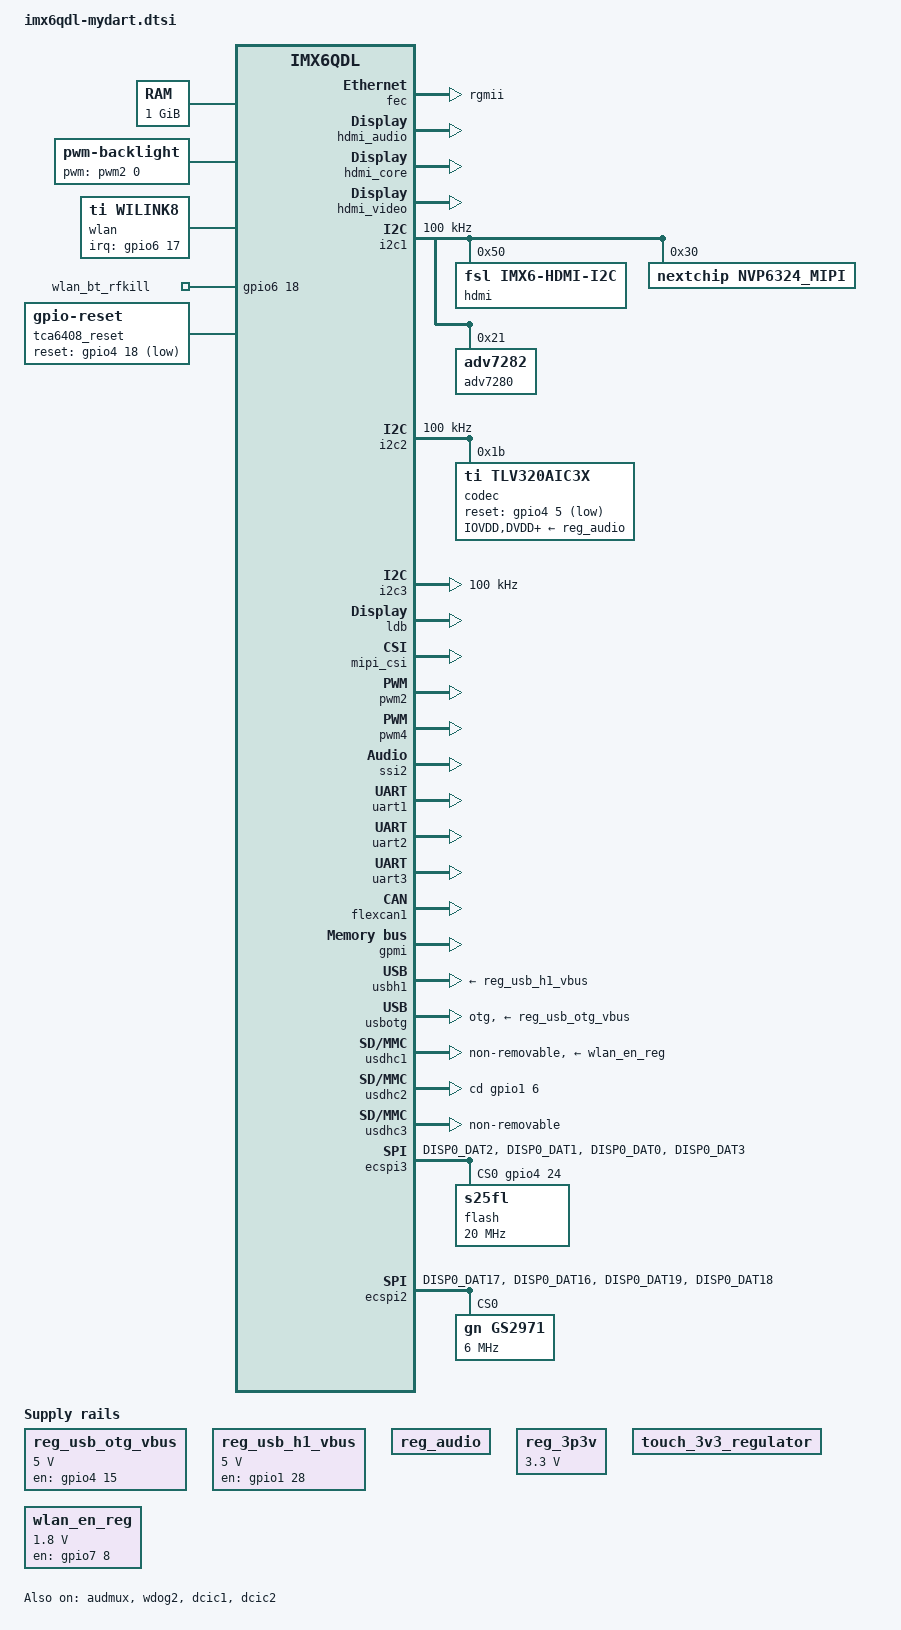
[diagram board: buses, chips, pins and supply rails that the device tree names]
/*
 * Copyright (C) 2014 Variscite, Ltd. All Rights Reserved
 * Donio Ron: ron.d@variscite.com
 *
 * Copyright 2012 Freescale Semiconductor, Inc.
 * Copyright 2011 Linaro Ltd.
 *
 * The code contained herein is licensed under the GNU General Public
 * License. You may obtain a copy of the GNU General Public License
 * Version 2 or later at the following locations:
 *
 * http://www.opensource.org/licenses/gpl-license.html
 * http://www.gnu.org/copyleft/gpl.html
 *
 */

/ {
	aliases {
		mxcfb0 = &mxcfb1;
		mxcfb1 = &mxcfb2;
		mxcfb2 = &mxcfb3;
		mxcfb3 = &mxcfb4;
	};

	memory {
		reg = <0x10000000 0x40000000>;
	};

	regulators {
		compatible = "simple-bus";

		reg_usb_otg_vbus: usb_otg_vbus {
			compatible = "regulator-fixed";
			regulator-name = "usb_otg_vbus";
			regulator-min-microvolt = <5000000>;        
			regulator-max-microvolt = <5000000>;
			gpio = <&gpio4 15 0>; 
			enable-active-high; //was low
		};

		reg_usb_h1_vbus: usb_h1_vbus {
			compatible = "regulator-fixed";
			regulator-name = "usb_h1_vbus";
			regulator-min-microvolt = <5000000>;
			regulator-max-microvolt = <5000000>;
            		gpio = <&gpio1 28 0>;
            		enable-active-high; //was low
		};

		reg_audio: tlv320aic3x_supply {
			compatible = "regulator-fixed";
			regulator-name = "tlv320aic3x-supply";
			enable-active-high;
		};

		reg_3p3v: 3p3v {
			compatible = "regulator-fixed";
			regulator-name = "3P3V";
			regulator-min-microvolt = <3300000>;
			regulator-max-microvolt = <3300000>;
			regulator-always-on;
		};

		touch_3v3_regulator: touch_3v3_regulator {
			compatible = "regulator-fixed";
			regulator-name = "touch_3v3_supply";
			regulator-always-on;
			status = "okay";
		};
	};

#if 1
	wlcore {
		compatible = "wlcore";
		gpio = <177>;   /* The wl8 driver expects gpio to be an integer, so gpio6_17 is (6-1)*32+17=207
		        	   irq property must not be set as driver derives irq number from gpio if no irq set
	 			   use edge irqs for suspend/resume */
		platform-quirks = <1>;
		/* if a 12xx card is there, configure the clock to WL12XX_REFCLOCK_38_XTAL */
		board-ref-clock = <4>;
	};
#endif

	wlan_en_reg: fixedregulator@2 {
		compatible = "regulator-fixed";
		regulator-name = "wlan-en-regulator";
		regulator-min-microvolt = <1800000>;
		regulator-max-microvolt = <1800000>;

		/* WLAN_EN GPIO for this board - Bank5, pin13 */
		gpio = <&gpio7 8 0>;

		/* WLAN card specific delay */
		startup-delay-us = <70000>;
		enable-active-high;
	};

#if 0
	gpio-keys {
		compatible = "gpio-keys";
		power {
			label = "Back";
			gpios = <&gpio5 20 0>;
			linux,code = <158>; /* KEY_BACK */
		};
	};
#endif

	sound {
		compatible = "fsl,imx6q-var-som-tlv320aic3x", "fsl,imx-audio-tlv320aic3x";
		model = "tlv320aic3x-audio";
		ssi-controller = <&ssi2>;
		audio-codec = <&codec>;
		audio-routing =
			/* Headphone connected to HPLOUT, HPROUT */
			"Headphone Jack",       "HPLOUT",
			"Headphone Jack",       "HPROUT",
			/* Line Out connected to LLOUT, RLOUT */
			"Line Out",      	"LLOUT",
			"Line Out",     	"RLOUT",
			/* Mic connected to (MIC3L | MIC3R) */
			"Mic Bias",		"MIC3L",
			"Mic Bias",		"MIC3R",
			"Mic Jack",		"Mic Bias",
			/* Line In connected to (LINE1L | LINE2L), (LINE1R | LINE2R) */
			"Line In",		"LINE1L",
			"Line In",		"LINE2L",
			"Line In",		"LINE1R",
			"Line In",		"LINE2R";
		mux-int-port = <2>;
		mux-ext-port = <3>;
	};

	sound-hdmi {
		compatible = "fsl,imx6q-audio-hdmi",
			     "fsl,imx-audio-hdmi";
		model = "imx-audio-hdmi";
		hdmi-controller = <&hdmi_audio>;
	};

	/* Capacitive Display */
	mxcfb1: fb@0 {
		compatible = "fsl,mxc_sdc_fb";
		disp_dev = "ldb";
		interface_pix_fmt = "RGB666";
		default_bpp = <16>;
		int_clk = <0>;
		late_init = <0>;
		status = "disabled";
	};

	mxcfb2: fb@1 {
		compatible = "fsl,mxc_sdc_fb";
		disp_dev = "hdmi";
		interface_pix_fmt = "RGB24";
		mode_str ="1920x1080M@60";
		default_bpp = <24>;
		int_clk = <0>;
		late_init = <0>;
		status = "disabled";
	};

	mxcfb3: fb@2 {
		compatible = "fsl,mxc_sdc_fb";
		disp_dev = "lcd";
		interface_pix_fmt = "RGB565";
		mode_str ="CLAA-WVGA";
		default_bpp = <16>;
		int_clk = <0>;
		late_init = <0>;
		status = "disabled";
	};

	mxcfb4: fb@3 {
		compatible = "fsl,mxc_sdc_fb";
		disp_dev = "ldb";
		interface_pix_fmt = "RGB666";
		default_bpp = <16>;
		int_clk = <0>;
		late_init = <0>;
		status = "disabled";
	};

	lcd@0 {
		compatible = "fsl,lcd";
		ipu_id = <0>;
		disp_id = <0>;
		default_ifmt = "RGB565";
//		pinctrl-names = "default";
//		pinctrl-0 = <&pinctrl_ipu1_1>;
		status = "disabled";
	};

	backlight {
		compatible = "pwm-backlight";
		pwms = <&pwm2 0 50000>;
		brightness-levels = <0 4 8 16 32 64 128 248>;
		default-brightness-level = <7>;
	};


	v4l2_cap_0:	v4l2_cap_0 {
		compatible = "fsl,imx6q-v4l2-capture";
		ipu_id = <1>;
		csi_id = <0>;
		mclk_source = <0>;
		status = "okay";
	};

    v4l2_cap_1: v4l2_cap_1 {
        compatible = "fsl,imx6q-v4l2-capture";
        ipu_id = <0>;
        csi_id = <0>;
        mipi_camera = <1>;
        mclk_source = <0>;
        status = "okay";
    };

	v4l2_out {
		compatible = "fsl,mxc_v4l2_output";
		status = "okay";
	};


	wlan {
		compatible = "ti,wilink8";
		interrupt-parent = <&gpio6>;
		interrupts = <17 0>;
		clocks = <&refclock>;
		clock-names = "refclock";

		refclock: refclock {
			compatible = "ti,wilink-clock";
			#clock-cells = <0>;
			clock-frequency = <38400000>;
		};
	};

	wlan_bt_rfkill {
		compatible = "net,rfkill-gpio";
		name = "wlan_bt_rfkill";
		type = <2>;     /* bluetooth */
		gpios = <&gpio6 18 0>;
	};

	tca6408_reset: tca6408-reset {
		compatible = "gpio-reset";
		reset-gpios = <&gpio4 18 GPIO_ACTIVE_LOW>;
		reset-delay-us = <1>;
		#reset-cells = <0>;
	};

#if 0
	lvds_cabc_ctrl {
		lvds0-gpios = <&gpio6 15 0>;
		lvds1-gpios = <&gpio6 16 0>;
	};
#endif
};

&audmux {
	pinctrl-names = "default";
	pinctrl-0 = <&pinctrl_audmux_2>;
	status = "okay";
};

&cpu0 {
	arm-supply = <&sw1a_reg>;
	soc-supply = <&sw1c_reg>;
	pu-supply = <&pu_dummy>; /* use pu_dummy if VDDSOC share with VDDPU */
};

#if 0
&ecspi3 {
	fsl,spi-num-chipselects = <1>;
	cs-gpios = <&gpio4 24 0>;
	pinctrl-names = "default";
	pinctrl-0 = <&pinctrl_ecspi3_1>;
	status = "okay";

	ads7846@0 {
		reg = <0>;	/* CS0 */
		compatible = "ti,ads7846";
		interrupt-parent = <&gpio4>;
		interrupts = <25 0>;	
		spi-max-frequency = <1500000>;
		pendown-gpio = <&gpio4 25 0>;
		vcc-supply = <&reg_soc>;
		ti,x-min = /bits/ 16 <4200>;
		ti,x-max = /bits/ 16 <8080>;
		ti,y-min = /bits/ 16 <4330>;
		ti,y-max = /bits/ 16 <7980>;
		ti,x-plate-ohms = /bits/ 16 <180>;
		ti,pressure-max = /bits/ 16 <255>;
		ti,debounce-max	= /bits/ 16 <10>;
		ti,debounce-tol = /bits/ 16 <3>;
		ti,debounce-rep	= /bits/ 16 <1>;
		ti,settle-delay-usec	= /bits/ 16 <150>;
		ti,keep-vref-on;	
		linux,wakeup;
		};
};
#endif

&fec {
	pinctrl-names = "default";
	pinctrl-0 = <&pinctrl_enet_4>;
	phy-mode = "rgmii";
	status = "okay";
};

&gpc {
	fsl,cpu_pupscr_sw2iso = <0xf>;
	fsl,cpu_pupscr_sw = <0xf>;
	fsl,cpu_pdnscr_iso2sw = <0x1>;
	fsl,cpu_pdnscr_iso = <0x1>;
	fsl,ldo-bypass = <1>; /* use ldo-bypass, u-boot will check it and configure */
	fsl,wdog-reset = <1>; /* watchdog select of reset source */
	pu-supply = <&pu_dummy>; /* ldo-bypass:use pu_dummy if VDDSOC share with VDDPU */
};

&wdog1 {
	status = "disabled";
};

&wdog2 {
	status = "okay";
};

&gpu {
	pu-supply = <&pu_dummy>; /* ldo-bypass:use pu_dummy if VDDSOC share with VDDPU */
};

&hdmi_audio {
	status = "okay";
};

&hdmi_core {
	ipu_id = <0>;
	disp_id = <1>;
	status = "okay";
};

&hdmi_video {
	fsl,phy_reg_vlev = <0x0294>;
	fsl,phy_reg_cksymtx = <0x800d>;
	status = "okay";
};

&i2c1 {
	clock-frequency = <100000>;
	pinctrl-names = "default";
	pinctrl-0 = <&pinctrl_i2c1_2>;
	status = "okay";

	hdmi: edid@50 {
		compatible = "fsl,imx6-hdmi-i2c";
		reg = <0x50>;
	};

#if 0
	ov5640_mipi: ov5640_mipi@3c {
		compatible = "ovti,ov5640_mipi";      
		reg = <0x3c>;
		clocks = <&clks 200>;
		clock-names = "csi_mclk";
#if 0
		DOVDD-supply = <&vgen4_reg>; /* 1.8v */
		AVDD-supply = <&vgen3_reg>;  /* 2.8v, rev C board is VGEN3 rev B board is VGEN5 */
		DVDD-supply = <&vgen2_reg>;  /* 1.5v*/
#endif
		pwn-gpios = <&gpio3 13 1>;
		rst-gpios = <&gpio4 10 0>;
		csi_id = <1>;
		mclk = <24000000>;
		mclk_source = <0>;
	};
#endif

	nvp6324_mipi@30 {      
		compatible = "nextchip,nvp6324_mipi";
		reg = <0x30>;
		pinctrl-names = "default";
		clocks = <&clks 200>;
		clock-names = "csi_mclk";
		mclk = <27000000>;
		mclk_source = <0>;
		csi_id = <0>;
		mipi_camera = <1>;
		ipu_id = <0>;
        //lanes = <4>;
	};

	/*tca6408: gpio@20 {
		compatible = "ti,tca6408";
		reg = <0x20>;
		gpio-controller;
		#gpio-cells = <2>;
		resets = <&tca6408_reset>;    
	};*/
	adv7280 {
		compatible = "adv7282";
                pinctrl-names = "default";
                reg = <0x21>;
                csi_id = <0>; 
                cvbs = <1>;
                clocks = <&clks 200>;
                clock-names = "csi_mclk";
                mipi_camera = <1>; 
                ipu_id = <1>; 
                status = "okay";
		};		  
};

&i2c2 {
	clock-frequency = <100000>;
	pinctrl-names = "default";
	pinctrl-0 = <&pinctrl_i2c2_2>;
	status = "okay";
#if 0
	hdmi: edid@50 {
		compatible = "fsl,imx6-hdmi-i2c";
		reg = <0x50>;
	};
#endif
	codec: tlv320aic3x@1b {
		compatible = "ti,tlv320aic3x";
		reg = <0x1b>;
		clocks = <&clks 201>;
		clock-names = "clko_clk";
		IOVDD-supply = <&reg_audio>;
		DVDD-supply = <&reg_audio>;
		AVDD-supply = <&reg_audio>;
		DRVDD-supply = <&reg_audio>;
		gpio-reset = <&gpio4 5 1>;
		gpio-cfg = <
			0x0000 /* 0:Default */
			0x0000 /* 1:Default */
			0x0013 /* 2:FN_DMICCLK */
			0x0000 /* 3:Default */
			0x8014 /* 4:FN_DMICCDAT */
			0x0000 /* 5:Default */
		>;
       	};
};

&i2c3 {
        clock-frequency = <100000>;
        pinctrl-names = "default";
        pinctrl-0 = <&pinctrl_i2c3_3>;
        status = "okay";

	#if 0 
	ft5x06_ts@38 {
			compatible = "focaltech,5x06";
			reg = <0x38>;
			focaltech,family-id = <0x54>;
			interrupt-parent = <&gpio1>;
			interrupts = <4 0>;
			vdd-supply = <&touch_3v3_regulator>;
			vcc_i2c-supply = <&touch_3v3_regulator>;
			focaltech,irq-gpio = <&gpio1 4 0x00>;
			focaltech,display-coords = <0 0 800 480>;
			focaltech,name = "ft6x06";
			focaltech,no-force-update;
			focaltech,group-id = <1>;
			focaltech,hard-reset-delay-ms = <20>;
			focaltech,soft-reset-delay-ms = <150>;
			focaltech,num-max-touches = <2>;
			focaltech,fw-name = "ft_8610_qrd_fw.bin";
			focaltech,fw-delay-aa-ms = <100>;
			focaltech,fw-delay-55-ms = <30>;
			focaltech,fw-upgrade-id1 = <0x79>;
			focaltech,fw-upgrade-id2 = <0x08>;
			focaltech,fw-delay-readid-ms = <10>;
			focaltech,fw-delay-era-flsh-ms = <2000>;
			focaltech,fw-auto-cal;
			focaltech,mirror_h;
			focaltech,mirror_v;
		};
        rtc@0x68 {
                 compatible = "dallas,ds1307";
                 reg = <0x68>;
	};
#endif
};

&iomuxc {
	pinctrl-names = "default";
	pinctrl-0 = <&pinctrl_hog_1>;

	hog {
		pinctrl_hog_1: hoggrp-1 {
			fsl,pins = <
#if 0
				 /* User Button */
				MX6QDL_PAD_CSI0_DATA_EN__GPIO5_IO20 		0x80000000
				/* Backlight PWM */
				MX6QDL_PAD_DISP0_DAT9__PWM2_OUT 		0x1b0b1
				/* Backlight enable */
				MX6QDL_PAD_DISP0_DAT9__GPIO4_IO30 		0x80000000
				/* CTW6120 IRQ */
				MX6QDL_PAD_EIM_DA7__GPIO3_IO07 			0x80000000
				/* Touch */
				/* for Bluetooth/wifi enable */
				/* SDMMC2 CD/WP */mipi_csi2_dphy_status=0x210
				MX6QDL_PAD_KEY_COL4__GPIO4_IO14			0x80000000
				MX6QDL_PAD_KEY_ROW4__GPIO4_IO15			0x80000000
				/* USBOTG ID pin */
//				MX6QDL_PAD_GPIO_4__GPIO1_IO04			0x80000000
#endif
				MX6QDL_PAD_ENET_CRS_DV__GPIO1_IO25		0x80000000	
				MX6QDL_PAD_KEY_ROW2__GPIO4_IO11			0x80000000   
				MX6QDL_PAD_DISP0_DAT5__GPIO4_IO26		0x80000000 
				MX6QDL_PAD_DISP0_DAT6__GPIO4_IO27		0x80000000 // USB
				MX6QDL_PAD_DISP0_DAT7__GPIO4_IO28		0x80000000 //ETH
				MX6QDL_PAD_DISP0_DAT11__GPIO5_IO05		0x80000000 //BUTTON!
				/* PMIC INT */
				MX6QDL_PAD_GPIO_17__GPIO7_IO12			0x80000000
				/* Wifi Slow Clock */
				MX6QDL_PAD_ENET_RXD0__OSC32K_32K_OUT		0x000b0			/* WIFI Slow clock */
				/* Audio Clock */
				MX6QDL_PAD_GPIO_0__CCM_CLKO1 			0x130b0			/* Audio Codec Clock */
				/* Camera Clock */
				MX6QDL_PAD_GPIO_3__CCM_CLKO2			0x130b0			/* Camera MCLK */
			>;
		};
#if 0
		pinctrl_pcie: pciegrp {
			fsl,pins = <
				/* PCIE */
				MX6QDL_PAD_EIM_D21__GPIO3_IO21			0x80000000		/* PCIE_DIS */
				MX6QDL_PAD_EIM_D22__GPIO3_IO22			0x80000000		/* PCIE_WAKEUP */
				MX6QDL_PAD_DISP0_DAT19__GPIO5_IO13		0x80000000	 	/* PCIE_RST */
				MX6QDL_PAD_SD4_DAT4__GPIO2_IO12			0x80000000		/* PCIE_PWR_ENA */ 
			>;
		};

		pinctrl_usbotg_var: usbotggrp-3 {
			fsl,pins = <
				MX6QDL_PAD_GPIO_4__GPIO1_IO04 0x17059
			>;
		};
#endif		
		pinctrl_ecspi3_1: ecspi3grp-1 {
			fsl,pins = <
				MX6QDL_PAD_DISP0_DAT2__ECSPI3_MISO	0x100b1
				MX6QDL_PAD_DISP0_DAT1__ECSPI3_MOSI	0x100b1
				MX6QDL_PAD_DISP0_DAT0__ECSPI3_SCLK	0x100b1
				/* CS */
		#define FLASH_CS	<&gpio4 24 GPIO_ACTIVE_LOW>
				MX6QDL_PAD_DISP0_DAT3__GPIO4_IO24 0x80000000 /* SPI NOR chipselect */
			>;
		};
	
		pinctrl_ecspi2: ecspi2grp {
				fsl,pins = <
					MX6QDL_PAD_DISP0_DAT17__ECSPI2_MISO	0x100b1
					MX6QDL_PAD_DISP0_DAT16__ECSPI2_MOSI	0x100b1
					MX6QDL_PAD_DISP0_DAT19__ECSPI2_SCLK	0x100b1
		#define GP_ECSPI2_GS2971_CS	<&gpio5 12 GPIO_ACTIVE_LOW>
					MX6QDL_PAD_DISP0_DAT18__GPIO5_IO12	0x0b0b0		/* GS2971 */
				>;
		};

		pinctrl_gs2971: gs2971grp {
			/* parallel camera on CSI1, pins differ for iMX6Q/iMX6DL */
		};

		pinctrl_gs2971_cea861: gs2971_cea861grp {
			/* parallel camera on CSI1, pins differ for iMX6Q/iMX6DL */
		};

		pinctrl_gs2971_no_cea861: gs2971_no_cea861grp { /* parallel camera */
			/* sav/eav codes are used, not hsync/vsync */
			fsl,pins = <
				MX6QDL_PAD_EIM_DA11__GPIO3_IO11		0xb0b0	/* HSYNC */
				MX6QDL_PAD_EIM_DA12__GPIO3_IO12		0xb0b0	/* VSYNC */
			>;
		};

		pinctrl_gs2971_gpios: gs2971_gpiosgrp {
			fsl,pins = <
	#define GPIO_INPUT 2
#if 0
	#define GP_GS2971_STANDBY	<&gpio5 0 GPIO_ACTIVE_HIGH>
				MX6QDL_PAD_EIM_WAIT__GPIO5_IO00		0x000b0		/* 1 - pin K2 - Standby */
#else
	#define GP_GS2971_STANDBY	<&gpio5 9 GPIO_ACTIVE_HIGH>
				MX6QDL_PAD_DISP0_DAT15__GPIO5_IO09		0x000b0		/* 1 - pin K2 - Standby */
#endif
	#if 0
	#define GP_GS2971_RESET		<&gpio3 13 GPIO_ACTIVE_LOW>
				MX6QDL_PAD_EIM_DA13__GPIO3_IO13		0x000b0		/* 0 - pin C7 - reset */
	#else
	#define GP_GS2971_RESET		<&gpio4 25 GPIO_ACTIVE_LOW>
				MX6QDL_PAD_DISP0_DAT4__GPIO4_IO25		0x000b0		/* 0 - pin C7 - reset */
	#endif
	//#define GP_GS2971_RC_BYPASS	<&gpio4 27 GPIO_ACTIVE_HIGH>
				//MX6QDL_PAD_DISP0_DAT6__GPIO4_IO27	0x000b0		/* 0 - pin G3 - RC bypass - output is buffered(low) */
	//#define GP_GS2971_IOPROC_EN	<&gpio4 28 GPIO_ACTIVE_HIGH>
				//MX6QDL_PAD_DISP0_DAT7__GPIO4_IO28	0x000b0		/* 0 - pin H8 - io(A/V) processor enable */
	#define GP_GS2971_AUDIO_EN	<&gpio4 29 GPIO_ACTIVE_HIGH>
				MX6QDL_PAD_DISP0_DAT8__GPIO4_IO29	0x000b0		/* 0 - pin H3 - Audio Enable */
	#define GP_GS2971_TIM_861	<&gpio4 16 GPIO_ACTIVE_HIGH>
				MX6QDL_PAD_DI0_DISP_CLK__GPIO4_IO16	0x000b0		/* 0 - pin H5 - TIM861 timing format, 1-use HSYNC/VSYNC */
	#define GP_GS2971_SW_EN		<&gpio5 6 GPIO_ACTIVE_HIGH>
				MX6QDL_PAD_DISP0_DAT12__GPIO5_IO06	0x000b0		/* 0 - pin D7 - SW_EN - line lock enable */
	#define GP_GS2971_DVB_ASI	<&gpio5 7 GPIO_INPUT>
				MX6QDL_PAD_DISP0_DAT13__GPIO5_IO07	0x1b0b0		/* pin G8 i/o DVB_ASI */
	#define GP_GS2971_SMPTE_BYPASS	<&gpio2 24 GPIO_INPUT>
				MX6QDL_PAD_EIM_CS1__GPIO2_IO24		0x1b0b0		/* pin G7 - i/o SMPTE bypass */
	#define GP_GS2971_DVI_LOCK	<&gpio3 14 GPIO_INPUT>
				MX6QDL_PAD_EIM_DA14__GPIO3_IO14		0x1b0b0		/* pin B6 - stat3 - DVI_LOCK */
	#define GP_GS2971_DATA_ERR	<&gpio3 15 GPIO_INPUT>
				MX6QDL_PAD_EIM_DA15__GPIO3_IO15		0x1b0b0		/* pin C6 - stat5 - DATA error */
	#define GP_GS2971_LB_CONT	<&gpio3 20 GPIO_INPUT>
				MX6QDL_PAD_EIM_D20__GPIO3_IO20		0x1b0b0		/* pin A3 - LB control - float, analog input */
	//#define GP_GS2971_Y_1ANC	<&gpio4 26 GPIO_INPUT>
			//	MX6QDL_PAD_DISP0_DAT5__GPIO4_IO26	0x1b0b0		/* pin C5 - stat4 - 1ANC - Y signal detect */
			>;
		};

	};
};

&ldb {
	status = "okay";

	lvds-channel@0 {
		fsl,data-mapping = "spwg";
		fsl,data-width = <24>;

		status = "okay";

/* Resistive Display */
	display-timings {
			native-mode = <&timingr0>;
			timingr0: hsd100pxn1 {
				clock-frequency = <35714000>;
				hactive = <800>;
				vactive = <480>;
				hback-porch = <28>;
				hfront-porch = <17>;
				vback-porch = <13>;
				vfront-porch = <20>;
				hsync-len = <20>;
				vsync-len = <13>;
			};
		};
		
/* Capacitive Display */
		display-timings-alternate {
			native-mode = <&timing0c>;
			timing0c: hsd100pxn1 {
				clock-frequency = <32000000>;
				hactive = <800>;
				vactive = <480>;
				hback-porch = <39>;
				hfront-porch = <39>;
				vback-porch = <29>;
				vfront-porch = <13>;
				hsync-len = <47>;
				vsync-len = <2>;
			};
		};
	};

	lvds-channel@1 {
		fsl,data-mapping = "spwg";
		fsl,data-width = <18>;
		crtc = "ipu1-di1";
		primary;
		status = "okay";

		display-timings {
			native-mode = <&timing1>;
			timing1: hsd100pxn1 {
				clock-frequency = <35714000>;
				hactive = <800>;
				vactive = <480>;
				hback-porch = <28>;
				hfront-porch = <17>;
				vback-porch = <13>;
				vfront-porch = <20>;
				hsync-len = <20>;
				vsync-len = <13>;
			};
		};
	};
};

&mipi_csi {
	status = "okay";
	ipu_id = <0>;
	csi_id = <0>;
	v_channel = <0>; //<0>;
	lanes = <4>; //<2>;
};

&dcic1 {
	dcic_id = <0>;
	dcic_mux = "dcic-hdmi";
	status = "okay";
};

&dcic2 {
	dcic_id = <1>;
	dcic_mux = "dcic-lvds0";
	status = "okay";
};

#if 0
&pcie {
	reset-gpio    = <&gpio4 11 0>;		/* gpio pin number of power good signal */
	wake-up-gpio  = <&gpio4 31 1>;		/* gpio pin number of incoming wakeup signal */
 	disable-gpio  = <&gpio5 5 0>;		/* gpio pin number of outgoing rfkill/endpoint disable signal */
	status = "okay";
};
#endif

&pwm2 {
	pinctrl-names = "default";
	pinctrl-0 = <&pinctrl_pwm1_1>;
	status = "okay";
};

&pwm4 {
	pinctrl-names = "default";
	pinctrl-0 = <&pinctrl_pwm4_1>;
	status = "okay";
};

&ssi2 {
	fsl,mode = "i2s-slave";
	status = "okay";
};

/* Console Uart */
&uart1 {
	pinctrl-names = "default";
	pinctrl-0 = <&pinctrl_uart1_1>;
	status = "okay";
};

/* Bluetooth Uart */
&uart2 {
	pinctrl-names = "default";
	pinctrl-0 = <&pinctrl_uart2_4>;
	fsl,uart-has-rtscts;
	status = "okay";
};

/* ttymxc2 UART */
&uart3 {
	pinctrl-names = "default";
	pinctrl-0 = <&pinctrl_uart3_2>;
	fsl,uart-has-rtscts;
	status = "okay";
};

&flexcan1 {
	pinctrl-names = "default";
	pinctrl-0 = <&pinctrl_flexcan1_3>;
	status = "okay";
};

&gpmi { /* nand flash 0.5 GB partition table */
	pinctrl-names = "default";
	pinctrl-0 = <&pinctrl_gpmi_nand_v1>;
	status = "okay";

	partition@0 {
		label = "spl";
		reg = <0x00000000 0x00200000>;
	};

	partition@1 {
		label = "bootloader";
		reg = <0x00200000 0x00200000>;
	};


	partition@2 {
		label = "kernel";
		reg = <0x00400000 0x00600000>;
	};

	partition@3 {
		label = "rootfs";
		reg = <0x00a00000 0x3f600000>;
	};
/* Overlaped partition used to flash Android */
	partition@4 {
		label = "android_boot";
		reg = <0x00400000 0x01000000>;
	};
	partition@5 {
		label = "android_recovery";
		reg = <0x01400000 0x01c00000>;
	};
	partition@6 {
		label = "android_rootfs";
		reg = <0x03000000 0x3d000000>;
	};
};

&usbh1 {
	vbus-supply = <&reg_usb_h1_vbus>;
	status = "okay";
};

&usbotg {
	vbus-supply = <&reg_usb_otg_vbus>;
	pinctrl-names = "default";
	pinctrl-0 = <&pinctrl_usbotg_2>;
	disable-over-current;
	/* dr_mode: One of "host", "peripheral" or "otg". Defaults to "otg" */
	dr_mode = "otg" ;	/* Use "host" if you would like to use the USB0 type A connector (host mode only on VAR-SOM-SOLO) */
	status = "okay";
};

&usdhc1 {	/* uSDHC1, TiWi wl1271 7 Wilink8 WL18xx*/
	pinctrl-names = "default", "state_100mhz", "state_200mhz";
	pinctrl-0 = <&pinctrl_usdhc1_1>;
	pinctrl-1 = <&pinctrl_usdhc1_2_100mhz>;
	pinctrl-2 = <&pinctrl_usdhc1_2_200mhz>;
//	pinctrl-names = "default";
//	pinctrl-0 = <&pinctrl_usdhc1_1>;
	keep-power-in-suspend;
	enable-sdio-wakeup;
	vmmc-supply = <&wlan_en_reg>;        
	non-removable;
	cap-power-off-card;
	status = "okay";
#if 0
	#address-cells = <1>;
	#size-cells = <0>;
    wlcore: wlcore@0 {
        compatible = "ti,wlcore";
        reg = <2>;
        interrupt-parent = <&gpio6>;
        interrupts = <17 0>;
        platform-quirks = <1>;
    };
#endif 
};

&usdhc2 {	/* uSDHC2, MMC/SD card */
	pinctrl-names = "default";
	pinctrl-0 = <&pinctrl_usdhc2_2>;
	cd-gpios = <&gpio1 6 0>;
	no-1-8-v;
	keep-power-in-suspend;
	enable-sdio-wakeup;
	status = "okay";
};


&usdhc3 {	/* uSDHC3, eMMC */
	pinctrl-names = "default";
	pinctrl-0 = <&pinctrl_usdhc3_3>;
	non-removable;
	keep-power-in-suspend;
	enable-sdio-wakeup;
	status = "okay";
};


&vpu {
	pu-supply = <&pu_dummy>; /* ldo-bypass:use pu_dummy if VDDSOC share with VDDPU */
};

&ecspi3 {
	pinctrl-names = "default";
	pinctrl-0 = <&pinctrl_ecspi3_1>;
	status = "okay";
	fsl,spi-num-chipselects = <1>;
	cs-gpios = <&gpio4 24 0>;

	flash: spidev@0 {
		compatible = "s25fl"; //spidev
		spi-max-frequency = <20000000>;
		reg = <0>;
	};
};

&ecspi2 {
	fsl,spi-num-chipselects = <1>;
	cs-gpios = GP_ECSPI2_GS2971_CS;
	pinctrl-names = "default";
	pinctrl-0 = <&pinctrl_ecspi2>;
	status = "okay";

	gs2971: gs2971@0 {
		compatible = "gn,gs2971";
		reg = <0>;
		pinctrl-names = "default", "no_cea861", "cea861";
		pinctrl-0 = <&pinctrl_gs2971>, <&pinctrl_gs2971_gpios>;
		pinctrl-1 = <&pinctrl_gs2971_no_cea861>;
		pinctrl-2 = <&pinctrl_gs2971_cea861>;
		mclk = <27000000>;
		csi = <1>;
		cea861 = <0>;
		spi-max-frequency = <6000000>;
		standby-gpios = GP_GS2971_STANDBY;	/* 1 - powerdown */
		rst-gpios = GP_GS2971_RESET;		/* 0 - reset */
		tim_861-gpios = GP_GS2971_TIM_861;	/* 0 - TIM861 timing format sav/eav codes */
		/* enable on power up */
		//ioproc_en-gpios = GP_GS2971_IOPROC_EN;	/* 0 - io(A/V) processor disabled */
		sw_en-gpios = GP_GS2971_SW_EN;		/* 0 - line lock disabled */
		//rc_bypass-gpios = GP_GS2971_RC_BYPASS;	/* 0 -  RC bypass - output is buffered(low) */
		audio_en-gpios = GP_GS2971_AUDIO_EN;	/* 0 - audio disabled */
		dvb_asi-gpios = GP_GS2971_DVB_ASI;	/* 0 - dvs_asi disabled */
		smpte_bypass-gpios = GP_GS2971_SMPTE_BYPASS;	/* in */
		dvi_lock-gpios = GP_GS2971_DVI_LOCK;	/* in */
		data_err-gpios = GP_GS2971_DATA_ERR;	/* in */
		lb_cont-gpios = GP_GS2971_LB_CONT;	/* in */
		//y_1anc-gpios = GP_GS2971_Y_1ANC;	/* in */
	};
};

